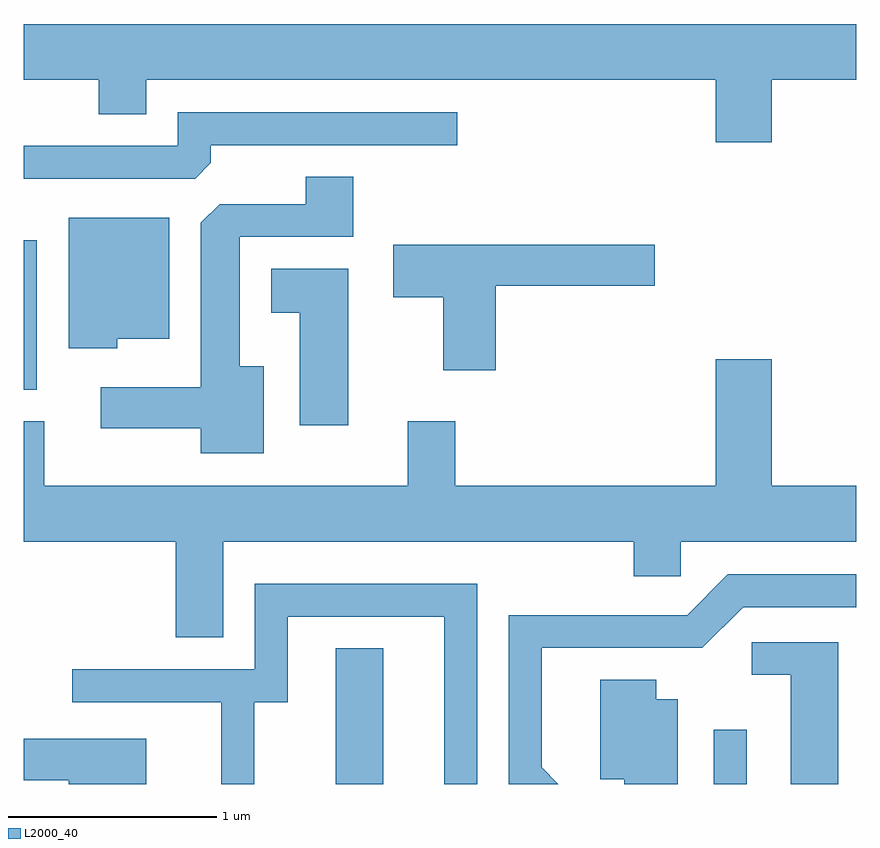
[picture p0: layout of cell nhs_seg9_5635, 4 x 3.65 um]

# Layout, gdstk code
import gdstk
lib = gdstk.Library(unit=1e-6, precision=1e-09)
def R(c, l, rs):  # rectangles x0, y0, x1, y1
    for r in rs: c.add(gdstk.rectangle(r[:2], r[2:], *l))
def P(c, l, *ps):  # polygons
    for p in ps: c.add(gdstk.Polygon(p, *l))
L2000_40 = (2000, 40)

nhs_seg9_5635 = lib.new_cell('nhs_seg9_5635')
R(nhs_seg9_5635, L2000_40, [(353.111,1988.432,353.339,1989.084), (354.926,1988.432,355.084,1988.693), (351.611,1990.326,351.674,1991.044)])
P(nhs_seg9_5635, L2000_40, [(355.204,1991.816),(355.611,1991.816),(355.611,1992.084),(351.611,1992.084),(351.611,1991.816),(351.971,1991.816),(351.971,1991.651),(352.199,1991.651),(352.199,1991.816),(354.936,1991.816),(354.936,1991.516),(355.204,1991.516)],
  [(352.509,1991.417),(352.509,1991.501),(353.693,1991.501),(353.693,1991.659),(352.351,1991.659),(352.351,1991.499),(351.611,1991.499),(351.611,1991.341),(352.434,1991.341)],
  [(352.764,1990.439),(352.649,1990.439),(352.649,1991.061),(353.194,1991.061),(353.194,1991.349),(352.966,1991.349),(352.966,1991.219),(352.552,1991.219),(352.461,1991.129),(352.461,1990.339),(351.981,1990.339),(351.981,1990.141),(352.461,1990.141),(352.461,1990.021),(352.764,1990.021)],
  [(352.059,1990.571),(352.309,1990.571),(352.309,1991.154),(351.826,1991.154),(351.826,1990.526),(352.059,1990.526)],
  [(353.879,1990.826),(354.644,1990.826),(354.644,1991.024),(353.386,1991.024),(353.386,1990.771),(353.626,1990.771),(353.626,1990.421),(353.879,1990.421)],
  [(353.169,1990.909),(352.801,1990.909),(352.801,1990.696),(352.936,1990.696),(352.936,1990.156),(353.169,1990.156)],
  [(352.569,1989.596),(354.541,1989.596),(354.541,1989.431),(354.769,1989.431),(354.769,1989.596),(355.611,1989.596),(355.611,1989.864),(355.204,1989.864),(355.204,1990.474),(354.936,1990.474),(354.936,1989.864),(353.684,1989.864),(353.684,1990.174),(353.456,1990.174),(353.456,1989.864),(351.709,1989.864),(351.709,1990.174),(351.611,1990.174),(351.611,1989.596),(352.341,1989.596),(352.341,1989.136),(352.569,1989.136)],
  [(354.099,1988.512),(354.099,1989.086),(354.872,1989.086),(355.067,1989.281),(355.611,1989.281),(355.611,1989.439),(354.994,1989.439),(354.799,1989.244),(353.941,1989.244),(353.941,1988.432),(354.179,1988.432)],
  [(352.719,1988.826),(352.879,1988.826),(352.879,1989.236),(353.631,1989.236),(353.631,1988.432),(353.789,1988.432),(353.789,1989.394),(352.721,1989.394),(352.721,1988.984),(351.843,1988.984),(351.843,1988.826),(352.561,1988.826),(352.561,1988.432),(352.719,1988.432)],
  [(355.524,1989.114),(355.108,1989.114),(355.108,1988.956),(355.296,1988.956),(355.296,1988.432),(355.524,1988.432)],
  [(354.754,1988.839),(354.649,1988.839),(354.649,1988.934),(354.381,1988.934),(354.381,1988.456),(354.496,1988.456),(354.496,1988.432),(354.754,1988.432)],
  [(352.199,1988.649),(351.611,1988.649),(351.611,1988.451),(351.826,1988.451),(351.826,1988.432),(352.199,1988.432)])

lib.write_gds('nhs_seg9_5635.gds')
